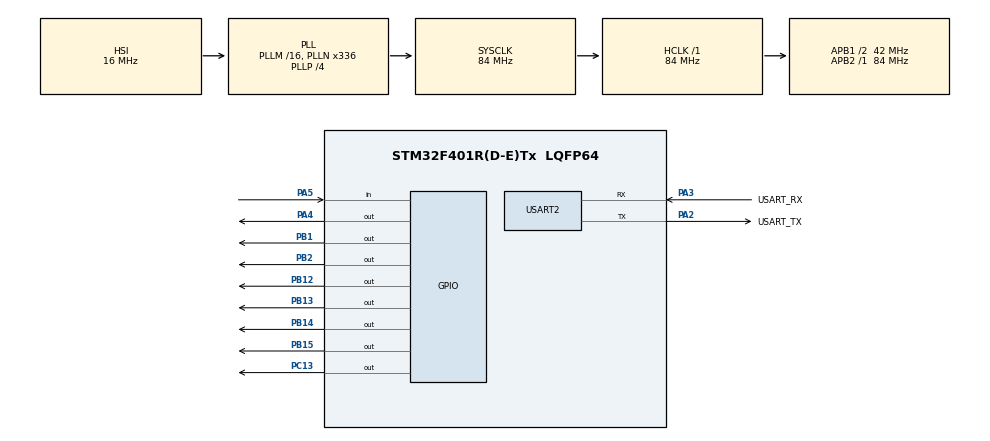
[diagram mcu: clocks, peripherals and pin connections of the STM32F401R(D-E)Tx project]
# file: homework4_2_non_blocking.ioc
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Mcu.Family=STM32F4
Mcu.Name=STM32F401R(D-E)Tx
Mcu.Package=LQFP64
NVIC.PriorityGroup=NVIC_PRIORITYGROUP_0
NVIC.TIM2_IRQn=true\:0\:0\:false\:false\:true\:true\:true\:true
PA13.GPIO_Label=TMS
PA13.Mode=Serial_Wire
PA13.Signal=SYS_JTMS-SWDIO
PA14.GPIO_Label=TCK
PA14.Mode=Serial_Wire
PA14.Signal=SYS_JTCK-SWCLK
PA2.GPIO_Label=USART_TX
PA2.GPIO_Mode=GPIO_MODE_AF_PP
PA2.GPIO_PuPd=GPIO_NOPULL
PA2.GPIO_Speed=GPIO_SPEED_FREQ_LOW
PA2.Mode=Asynchronous
PA2.Signal=USART2_TX
PA3.GPIO_Label=USART_RX
PA3.GPIO_Mode=GPIO_MODE_AF_PP
PA3.GPIO_PuPd=GPIO_NOPULL
PA3.GPIO_Speed=GPIO_SPEED_FREQ_LOW
PA3.Mode=Asynchronous
PA3.Signal=USART2_RX
PA4.Signal=GPIO_Output
PA5.Signal=GPIO_Input
PB1.Signal=GPIO_Output
PB12.Signal=GPIO_Output
PB13.Signal=GPIO_Output
PB14.Signal=GPIO_Output
PB15.Signal=GPIO_Output
PB2.Signal=GPIO_Output
PB3.GPIO_Label=SWO
PB3.Signal=SYS_JTDO-SWO
PC13-ANTI_TAMP.Signal=GPIO_Output
PC14-OSC32_IN.Mode=LSE-External-Oscillator
PC14-OSC32_IN.Signal=RCC_OSC32_IN
PC15-OSC32_OUT.Mode=LSE-External-Oscillator
PC15-OSC32_OUT.Signal=RCC_OSC32_OUT
PH0\ -\ OSC_IN.Mode=HSE-External-Clock-Source
PH0\ -\ OSC_IN.Signal=RCC_OSC_IN
PH1\ -\ OSC_OUT.Mode=HSE-External-Clock-Source
PH1\ -\ OSC_OUT.Signal=RCC_OSC_OUT
ProjectManager.HeapSize=0x200
ProjectManager.StackSize=0x400
ProjectManager.TargetToolchain=STM32CubeIDE
RCC.48MHZClocksFreq_Value=48000000
RCC.AHBFreq_Value=84000000
RCC.APB1CLKDivider=RCC_HCLK_DIV2
RCC.APB1Freq_Value=42000000
RCC.APB1TimFreq_Value=84000000
RCC.APB2Freq_Value=84000000
RCC.APB2TimFreq_Value=84000000
RCC.CortexFreq_Value=84000000
RCC.HCLKFreq_Value=84000000
RCC.HSE_VALUE=8000000
RCC.HSI_VALUE=16000000
RCC.PLLN=336
RCC.PLLP=RCC_PLLP_DIV4
RCC.PLLQ=7
RCC.SYSCLKFreq_VALUE=84000000
RCC.SYSCLKSource=RCC_SYSCLKSOURCE_PLLCLK
RCC.VCOOutputFreq_Value=336000000
TIM2.Period=10000-1
TIM2.Prescaler=8400-1
USART2.VirtualMode=VM_ASYNC
VP_TIM2_VS_ClockSourceINT.Mode=Internal
board=NUCLEO-F401RE

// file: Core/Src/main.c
/* USER CODE BEGIN Header */
/**
  ******************************************************************************
  * @file           : main.c
  * @brief          : Main program body
  ******************************************************************************
  * @attention
  *
  * Copyright (c) 2025 STMicroelectronics.
  * All rights reserved.
  *
  * This software is licensed under terms that can be found in the LICENSE file
  * in the root directory of this software component.
  * If no LICENSE file comes with this software, it is provided AS-IS.
  *
  ******************************************************************************
  */
/* USER CODE END Header */
#include "main.h"

/* USER CODE BEGIN Includes */
#include "PMDB16_LCD.h"
/* USER CODE END Includes */

TIM_HandleTypeDef htim2;

UART_HandleTypeDef huart2;

/* USER CODE BEGIN PV */
int ind=0;

char names[][16]={"Imane","Antonio","Christian","Francesco"};

/* USER CODE END PV */

void SystemClock_Config(void);
static void MX_GPIO_Init(void);
static void MX_USART2_UART_Init(void);
static void MX_TIM2_Init(void);

/* USER CODE BEGIN 0 */

void HAL_TIM_PeriodElapsedCallback (TIM_HandleTypeDef* htim) {
	if (htim == &htim2){
		ind++;
		lcd_println(names[ind-1],0);
		if (ind==5){
			ind=0;
		};
		lcd_println(names[ind],1);
	};
}
/* USER CODE END 0 */

int main(void)
{

  /* MCU Configuration--------------------------------------------------------*/

  /* Reset of all peripherals, Initializes the Flash interface and the Systick. */
  HAL_Init();

  /* Configure the system clock */
  SystemClock_Config();

  /* Initialize all configured peripherals */
  MX_GPIO_Init();
  MX_USART2_UART_Init();
  MX_TIM2_Init();
  /* USER CODE BEGIN 2 */
  HAL_TIM_Base_Start_IT(&htim2);
  lcd_initialize();
  lcd_backlight_ON();
  /* USER CODE END 2 */

  /* Infinite loop */
  while (1)
  {

  }
}

void SystemClock_Config(void)
{
  RCC_OscInitTypeDef RCC_OscInitStruct = {0};
  RCC_ClkInitTypeDef RCC_ClkInitStruct = {0};

  /** Configure the main internal regulator output voltage
  */
  __HAL_RCC_PWR_CLK_ENABLE();
  __HAL_PWR_VOLTAGESCALING_CONFIG(PWR_REGULATOR_VOLTAGE_SCALE2);

  /** Initializes the RCC Oscillators according to the specified parameters
  * in the RCC_OscInitTypeDef structure.
  */
  RCC_OscInitStruct.OscillatorType = RCC_OSCILLATORTYPE_HSI;
  RCC_OscInitStruct.HSIState = RCC_HSI_ON;
  RCC_OscInitStruct.HSICalibrationValue = RCC_HSICALIBRATION_DEFAULT;
  RCC_OscInitStruct.PLL.PLLState = RCC_PLL_ON;
  RCC_OscInitStruct.PLL.PLLSource = RCC_PLLSOURCE_HSI;
  RCC_OscInitStruct.PLL.PLLM = 16;
  RCC_OscInitStruct.PLL.PLLN = 336;
  RCC_OscInitStruct.PLL.PLLP = RCC_PLLP_DIV4;
  RCC_OscInitStruct.PLL.PLLQ = 7;
  if (HAL_RCC_OscConfig(&RCC_OscInitStruct) != HAL_OK)
  {
    Error_Handler();
  }

  /** Initializes the CPU, AHB and APB buses clocks
  */
  RCC_ClkInitStruct.ClockType = RCC_CLOCKTYPE_HCLK|RCC_CLOCKTYPE_SYSCLK
                              |RCC_CLOCKTYPE_PCLK1|RCC_CLOCKTYPE_PCLK2;
  RCC_ClkInitStruct.SYSCLKSource = RCC_SYSCLKSOURCE_PLLCLK;
  RCC_ClkInitStruct.AHBCLKDivider = RCC_SYSCLK_DIV1;
  RCC_ClkInitStruct.APB1CLKDivider = RCC_HCLK_DIV2;
  RCC_ClkInitStruct.APB2CLKDivider = RCC_HCLK_DIV1;

  if (HAL_RCC_ClockConfig(&RCC_ClkInitStruct, FLASH_LATENCY_2) != HAL_OK)
  {
    Error_Handler();
  }
}

static void MX_TIM2_Init(void)
{

  TIM_ClockConfigTypeDef sClockSourceConfig = {0};
  TIM_MasterConfigTypeDef sMasterConfig = {0};

  htim2.Instance = TIM2;
  htim2.Init.Prescaler = 8400-1;
  htim2.Init.CounterMode = TIM_COUNTERMODE_UP;
  htim2.Init.Period = 10000-1;
  htim2.Init.ClockDivision = TIM_CLOCKDIVISION_DIV1;
  htim2.Init.AutoReloadPreload = TIM_AUTORELOAD_PRELOAD_DISABLE;
  if (HAL_TIM_Base_Init(&htim2) != HAL_OK)
  {
    Error_Handler();
  }
  sClockSourceConfig.ClockSource = TIM_CLOCKSOURCE_INTERNAL;
  if (HAL_TIM_ConfigClockSource(&htim2, &sClockSourceConfig) != HAL_OK)
  {
    Error_Handler();
  }
  sMasterConfig.MasterOutputTrigger = TIM_TRGO_RESET;
  sMasterConfig.MasterSlaveMode = TIM_MASTERSLAVEMODE_DISABLE;
  if (HAL_TIMEx_MasterConfigSynchronization(&htim2, &sMasterConfig) != HAL_OK)
  {
    Error_Handler();
  }

}

static void MX_USART2_UART_Init(void)
{

  huart2.Instance = USART2;
  huart2.Init.BaudRate = 115200;
  huart2.Init.WordLength = UART_WORDLENGTH_8B;
  huart2.Init.StopBits = UART_STOPBITS_1;
  huart2.Init.Parity = UART_PARITY_NONE;
  huart2.Init.Mode = UART_MODE_TX_RX;
  huart2.Init.HwFlowCtl = UART_HWCONTROL_NONE;
  huart2.Init.OverSampling = UART_OVERSAMPLING_16;
  if (HAL_UART_Init(&huart2) != HAL_OK)
  {
    Error_Handler();
  }

}

static void MX_GPIO_Init(void)
{
  GPIO_InitTypeDef GPIO_InitStruct = {0};

  /* GPIO Ports Clock Enable */
  __HAL_RCC_GPIOC_CLK_ENABLE();
  __HAL_RCC_GPIOH_CLK_ENABLE();
  __HAL_RCC_GPIOA_CLK_ENABLE();
  __HAL_RCC_GPIOB_CLK_ENABLE();

  /*Configure GPIO pin Output Level */
  HAL_GPIO_WritePin(GPIOC, GPIO_PIN_13, GPIO_PIN_RESET);

  /*Configure GPIO pin Output Level */
  HAL_GPIO_WritePin(GPIOA, GPIO_PIN_4, GPIO_PIN_RESET);

  /*Configure GPIO pin Output Level */
  HAL_GPIO_WritePin(GPIOB, GPIO_PIN_1|GPIO_PIN_2|GPIO_PIN_12|GPIO_PIN_13
                          |GPIO_PIN_14|GPIO_PIN_15, GPIO_PIN_RESET);

  /*Configure GPIO pin : PC13 */
  GPIO_InitStruct.Pin = GPIO_PIN_13;
  GPIO_InitStruct.Mode = GPIO_MODE_OUTPUT_PP;
  GPIO_InitStruct.Pull = GPIO_NOPULL;
  GPIO_InitStruct.Speed = GPIO_SPEED_FREQ_LOW;
  HAL_GPIO_Init(GPIOC, &GPIO_InitStruct);

  /*Configure GPIO pin : PA4 */
  GPIO_InitStruct.Pin = GPIO_PIN_4;
  GPIO_InitStruct.Mode = GPIO_MODE_OUTPUT_PP;
  GPIO_InitStruct.Pull = GPIO_NOPULL;
  GPIO_InitStruct.Speed = GPIO_SPEED_FREQ_LOW;
  HAL_GPIO_Init(GPIOA, &GPIO_InitStruct);

  /*Configure GPIO pin : PA5 */
  GPIO_InitStruct.Pin = GPIO_PIN_5;
  GPIO_InitStruct.Mode = GPIO_MODE_INPUT;
  GPIO_InitStruct.Pull = GPIO_NOPULL;
  HAL_GPIO_Init(GPIOA, &GPIO_InitStruct);

  /*Configure GPIO pins : PB1 PB2 PB12 PB13
                           PB14 PB15 */
  GPIO_InitStruct.Pin = GPIO_PIN_1|GPIO_PIN_2|GPIO_PIN_12|GPIO_PIN_13
                          |GPIO_PIN_14|GPIO_PIN_15;
  GPIO_InitStruct.Mode = GPIO_MODE_OUTPUT_PP;
  GPIO_InitStruct.Pull = GPIO_NOPULL;
  GPIO_InitStruct.Speed = GPIO_SPEED_FREQ_LOW;
  HAL_GPIO_Init(GPIOB, &GPIO_InitStruct);

}

void Error_Handler(void)
{
  __disable_irq();
  while (1)
  {
  }
}
